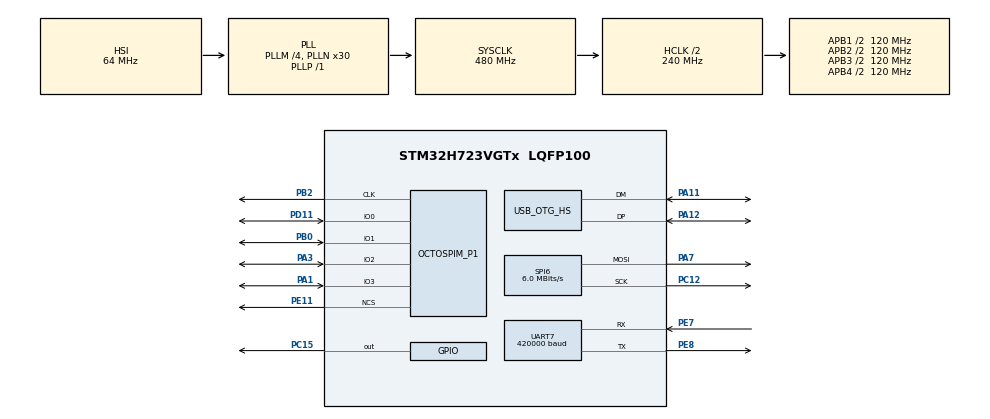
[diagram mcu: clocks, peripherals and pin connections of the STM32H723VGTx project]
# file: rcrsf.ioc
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CORTEX_M7.AccessPermission_S-Cortex_Memory_Protection_Unit_Region1_Settings_S=MPU_REGION_PRIV_RO
CORTEX_M7.AccessPermission_S-Cortex_Memory_Protection_Unit_Region2_Settings_S=MPU_REGION_FULL_ACCESS
CORTEX_M7.BaseAddress_S-Cortex_Memory_Protection_Unit_Region1_Settings_S=0x08000000
CORTEX_M7.BaseAddress_S-Cortex_Memory_Protection_Unit_Region2_Settings_S=0x30000000
CORTEX_M7.Enable_S-Cortex_Memory_Protection_Unit_Region1_Settings_S=MPU_REGION_ENABLE
CORTEX_M7.Enable_S-Cortex_Memory_Protection_Unit_Region2_Settings_S=MPU_REGION_ENABLE
CORTEX_M7.IsCacheable_S-Cortex_Memory_Protection_Unit_Region1_Settings_S=MPU_ACCESS_CACHEABLE
CORTEX_M7.Number_S-Cortex_Memory_Protection_Unit_Region2_Settings_S=MPU_REGION_NUMBER2
CORTEX_M7.Size_S-Cortex_Memory_Protection_Unit_Region1_Settings_S=MPU_REGION_SIZE_1MB
CORTEX_M7.Size_S-Cortex_Memory_Protection_Unit_Region2_Settings_S=MPU_REGION_SIZE_32KB
CORTEX_M7.TypeExtField_S-Cortex_Memory_Protection_Unit_Region1_Settings_S=MPU_TEX_LEVEL1
CORTEX_M7.TypeExtField_S-Cortex_Memory_Protection_Unit_Region2_Settings_S=MPU_TEX_LEVEL1
CORTEX_M7.default_mode_Activation=1
Dma.Request0=UART7_RX
Dma.Request1=UART7_TX
Dma.UART7_RX.0.Direction=DMA_PERIPH_TO_MEMORY
Dma.UART7_RX.0.EventEnable=DISABLE
Dma.UART7_RX.0.FIFOMode=DMA_FIFOMODE_DISABLE
Dma.UART7_RX.0.Instance=DMA1_Stream0
Dma.UART7_RX.0.MemDataAlignment=DMA_MDATAALIGN_BYTE
Dma.UART7_RX.0.MemInc=DMA_MINC_ENABLE
Dma.UART7_RX.0.Mode=DMA_NORMAL
Dma.UART7_RX.0.PeriphDataAlignment=DMA_PDATAALIGN_BYTE
Dma.UART7_RX.0.PeriphInc=DMA_PINC_DISABLE
Dma.UART7_RX.0.Polarity=HAL_DMAMUX_REQ_GEN_RISING
Dma.UART7_RX.0.Priority=DMA_PRIORITY_LOW
Dma.UART7_RX.0.RequestNumber=1
Dma.UART7_RX.0.SignalID=NONE
Dma.UART7_RX.0.SyncEnable=DISABLE
Dma.UART7_RX.0.SyncPolarity=HAL_DMAMUX_SYNC_NO_EVENT
Dma.UART7_RX.0.SyncRequestNumber=1
Dma.UART7_RX.0.SyncSignalID=NONE
Dma.UART7_TX.1.Direction=DMA_MEMORY_TO_PERIPH
Dma.UART7_TX.1.EventEnable=DISABLE
Dma.UART7_TX.1.FIFOMode=DMA_FIFOMODE_DISABLE
Dma.UART7_TX.1.Instance=DMA1_Stream1
Dma.UART7_TX.1.MemDataAlignment=DMA_MDATAALIGN_BYTE
Dma.UART7_TX.1.MemInc=DMA_MINC_ENABLE
Dma.UART7_TX.1.Mode=DMA_NORMAL
Dma.UART7_TX.1.PeriphDataAlignment=DMA_PDATAALIGN_BYTE
Dma.UART7_TX.1.PeriphInc=DMA_PINC_DISABLE
Dma.UART7_TX.1.Polarity=HAL_DMAMUX_REQ_GEN_RISING
Dma.UART7_TX.1.Priority=DMA_PRIORITY_LOW
Dma.UART7_TX.1.RequestNumber=1
Dma.UART7_TX.1.SignalID=NONE
Dma.UART7_TX.1.SyncEnable=DISABLE
Dma.UART7_TX.1.SyncPolarity=HAL_DMAMUX_SYNC_NO_EVENT
Dma.UART7_TX.1.SyncRequestNumber=1
Dma.UART7_TX.1.SyncSignalID=NONE
FATFS._CODE_PAGE=936
FATFS._FS_EXFAT=1
FATFS._MAX_SS=4096
FATFS._USE_LFN=2
Mcu.Family=STM32H7
Mcu.Name=STM32H723VGTx
Mcu.Package=LQFP100
NVIC.DMA1_Stream0_IRQn=true\:0\:0\:false\:false\:true\:false\:true\:true
NVIC.DMA1_Stream1_IRQn=true\:0\:0\:false\:false\:true\:false\:true\:true
NVIC.OTG_HS_IRQn=true\:0\:0\:false\:false\:true\:false\:true\:true
NVIC.PriorityGroup=NVIC_PRIORITYGROUP_4
NVIC.UART7_IRQn=true\:0\:0\:false\:false\:true\:true\:true\:true
OCTOSPI2.ClockMode=HAL_OSPI_CLOCK_MODE_3
OCTOSPI2.ClockPrescaler=3
OCTOSPI2.DeviceSize=23
OCTOSPI2.FifoThreshold=8
OCTOSPI2.SampleShifting=HAL_OSPI_SAMPLE_SHIFTING_HALFCYCLE
PA1.Mode=OCTOSPI2_IOL_Port1L
PA1.Signal=OCTOSPIM_P1_IO3
PA11.Mode=Device_Only_FS
PA11.Signal=USB_OTG_HS_DM
PA12.Mode=Device_Only_FS
PA12.Signal=USB_OTG_HS_DP
PA13(JTMS/SWDIO).Mode=Serial_Wire
PA13(JTMS/SWDIO).Signal=DEBUG_JTMS-SWDIO
PA14(JTCK/SWCLK).Mode=Serial_Wire
PA14(JTCK/SWCLK).Signal=DEBUG_JTCK-SWCLK
PA3.Mode=OCTOSPI2_IOL_Port1L
PA3.Signal=OCTOSPIM_P1_IO2
PA7.Mode=TX_Only_Simplex_Unidirect_Master
PA7.Signal=SPI6_MOSI
PB0.Mode=OCTOSPI2_IOL_Port1L
PB0.Signal=OCTOSPIM_P1_IO1
PB2.Mode=O2_P1_CLK
PB2.Signal=OCTOSPIM_P1_CLK
PC12.Mode=TX_Only_Simplex_Unidirect_Master
PC12.Signal=SPI6_SCK
PC15-OSC32_OUT.GPIO_PuPd=GPIO_PULLUP
PC15-OSC32_OUT.PinState=GPIO_PIN_SET
PC15-OSC32_OUT.Signal=GPIO_Output
PD11.Mode=OCTOSPI2_IOL_Port1L
PD11.Signal=OCTOSPIM_P1_IO0
PE11.Mode=OCTOSPI2_Port1_NCS
PE11.Signal=OCTOSPIM_P1_NCS
PE7.Mode=Asynchronous
PE7.Signal=UART7_RX
PE8.Mode=Asynchronous
PE8.Signal=UART7_TX
PH0-OSC_IN.Mode=HSE-External-Oscillator
PH0-OSC_IN.Signal=RCC_OSC_IN
PH1-OSC_OUT.Mode=HSE-External-Oscillator
PH1-OSC_OUT.Signal=RCC_OSC_OUT
ProjectManager.HeapSize=0x200
ProjectManager.StackSize=0x400
ProjectManager.TargetToolchain=Makefile
RCC.ADCFreq_Value=129000000
RCC.APB1Freq_Value=120000000
RCC.APB2Freq_Value=120000000
RCC.APB3Freq_Value=120000000
RCC.APB4Freq_Value=120000000
RCC.CortexFreq_Value=480000000
RCC.D1PPRE=RCC_APB3_DIV2
RCC.D2PPRE1=RCC_APB1_DIV2
RCC.D2PPRE2=RCC_APB2_DIV2
RCC.D3PPRE=RCC_APB4_DIV2
RCC.DIVM1=4
RCC.DIVN1=30
RCC.DIVP1=1
RCC.HCLKFreq_Value=240000000
RCC.HPRE=RCC_HCLK_DIV2
RCC.HSE_VALUE=24000000
RCC.PLL2FRACN=0
RCC.PLL3FRACN=0
RCC.PLLFRACN=0
RCC.SPI6CLockSelection=RCC_SPI6CLKSOURCE_HSE
RCC.SYSCLKFreq_VALUE=480000000
RCC.SYSCLKSource=RCC_SYSCLKSOURCE_PLLCLK
RCC.USBCLockSelection=RCC_USBCLKSOURCE_HSI48
RCC.USBFreq_Value=48000000
SPI6.BaudRatePrescaler=SPI_BAUDRATEPRESCALER_4
SPI6.CLKPhase=SPI_PHASE_2EDGE
SPI6.CalculateBaudRate=6.0 MBits/s
SPI6.DataSize=SPI_DATASIZE_8BIT
SPI6.Direction=SPI_DIRECTION_2LINES_TXONLY
SPI6.Mode=SPI_MODE_MASTER
SPI6.VirtualType=VM_MASTER
UART7.BaudRate=420000
USB_DEVICE.CLASS_NAME_HS=MSC
USB_DEVICE.MSC_MEDIA_PACKET=4096
USB_DEVICE.VirtualMode=Msc
USB_DEVICE.VirtualModeHS=Msc_HS
USB_OTG_HS.VirtualMode-Device_Only_FS=Device_Only_FS
VP_FATFS_VS_Generic.Mode=User_defined
VP_MEMORYMAP_VS_MEMORYMAP.Mode=CurAppReg
VP_OCTOSPI2_VS_quad.Mode=quad_mode
VP_USB_DEVICE_VS_USB_DEVICE_MSC_HS.Mode=MSC_HS
board=custom

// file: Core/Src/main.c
/* USER CODE BEGIN Header */
/**
  ******************************************************************************
  * @file           : main.c
  * @brief          : Main program body
  ******************************************************************************
  * @attention
  *
  * Copyright (c) 2026 STMicroelectronics.
  * All rights reserved.
  *
  * This software is licensed under terms that can be found in the LICENSE file
  * in the root directory of this software component.
  * If no LICENSE file comes with this software, it is provided AS-IS.
  *
  ******************************************************************************
  */
/* USER CODE END Header */
#include "main.h"
#include "dma.h"
#include "fatfs.h"
#include "octospi.h"
#include "spi.h"
#include "usart.h"
#include "usb_device.h"
#include "gpio.h"

/* USER CODE BEGIN Includes */
#include "usbd_core.h"
/* USER CODE END Includes */

void SystemClock_Config(void);
static void MPU_Config(void);
/* USER CODE BEGIN PFP */
static uint8_t APP_IsUsbConnectedAtStartup(void);

/* USER CODE END PFP */

/* USER CODE BEGIN 0 */
uint8_t ws2812_buffer = 0;
extern USBD_HandleTypeDef hUsbDeviceHS;
/* USER CODE END 0 */

int main(void)
{

  /* MPU Configuration--------------------------------------------------------*/
  MPU_Config();

  /* MCU Configuration--------------------------------------------------------*/

  /* Reset of all peripherals, Initializes the Flash interface and the Systick. */
  HAL_Init();

  /* Configure the system clock */
  SystemClock_Config();

  /* Initialize all configured peripherals */
  MX_GPIO_Init();
  MX_DMA_Init();
  MX_UART7_Init();
  MX_OCTOSPI2_Init();
  MX_FATFS_Init();
  MX_USB_DEVICE_Init();
  MX_SPI6_Init();
  /* USER CODE BEGIN 2 */
  if (APP_IsUsbConnectedAtStartup() == 0U)
  {
    (void)USBD_Stop(&hUsbDeviceHS);
    (void)USBD_DeInit(&hUsbDeviceHS);
  }
  else
  {
    while (1)
    {
      WS2812_Ctrl(ws2812_buffer * 20, ws2812_buffer * 20, 0);
      ws2812_buffer = !ws2812_buffer;
      HAL_Delay(500);
    }
  }

  crsf_init();
  /* USER CODE END 2 */

  /* Infinite loop */
  while (1)
  {

    /* USER CODE BEGIN 3 */
    WS2812_Ctrl(0, ws2812_buffer * 40, 0);
    ws2812_buffer = !ws2812_buffer;
    HAL_Delay(1000);
  }
  /* USER CODE END 3 */
}

void SystemClock_Config(void)
{
  RCC_OscInitTypeDef RCC_OscInitStruct = {0};
  RCC_ClkInitTypeDef RCC_ClkInitStruct = {0};

  /** Supply configuration update enable
  */
  HAL_PWREx_ConfigSupply(PWR_LDO_SUPPLY);

  /** Configure the main internal regulator output voltage
  */
  __HAL_PWR_VOLTAGESCALING_CONFIG(PWR_REGULATOR_VOLTAGE_SCALE0);

  while(!__HAL_PWR_GET_FLAG(PWR_FLAG_VOSRDY)) {}

  /** Initializes the RCC Oscillators according to the specified parameters
  * in the RCC_OscInitTypeDef structure.
  */
  RCC_OscInitStruct.OscillatorType = RCC_OSCILLATORTYPE_HSI48|RCC_OSCILLATORTYPE_HSI
                              |RCC_OSCILLATORTYPE_HSE;
  RCC_OscInitStruct.HSEState = RCC_HSE_ON;
  RCC_OscInitStruct.HSIState = RCC_HSI_DIV1;
  RCC_OscInitStruct.HSICalibrationValue = 64;
  RCC_OscInitStruct.HSI48State = RCC_HSI48_ON;
  RCC_OscInitStruct.PLL.PLLState = RCC_PLL_ON;
  RCC_OscInitStruct.PLL.PLLSource = RCC_PLLSOURCE_HSI;
  RCC_OscInitStruct.PLL.PLLM = 4;
  RCC_OscInitStruct.PLL.PLLN = 30;
  RCC_OscInitStruct.PLL.PLLP = 1;
  RCC_OscInitStruct.PLL.PLLQ = 2;
  RCC_OscInitStruct.PLL.PLLR = 2;
  RCC_OscInitStruct.PLL.PLLRGE = RCC_PLL1VCIRANGE_3;
  RCC_OscInitStruct.PLL.PLLVCOSEL = RCC_PLL1VCOWIDE;
  RCC_OscInitStruct.PLL.PLLFRACN = 0;
  if (HAL_RCC_OscConfig(&RCC_OscInitStruct) != HAL_OK)
  {
    Error_Handler();
  }

  /** Initializes the CPU, AHB and APB buses clocks
  */
  RCC_ClkInitStruct.ClockType = RCC_CLOCKTYPE_HCLK|RCC_CLOCKTYPE_SYSCLK
                              |RCC_CLOCKTYPE_PCLK1|RCC_CLOCKTYPE_PCLK2
                              |RCC_CLOCKTYPE_D3PCLK1|RCC_CLOCKTYPE_D1PCLK1;
  RCC_ClkInitStruct.SYSCLKSource = RCC_SYSCLKSOURCE_PLLCLK;
  RCC_ClkInitStruct.SYSCLKDivider = RCC_SYSCLK_DIV1;
  RCC_ClkInitStruct.AHBCLKDivider = RCC_HCLK_DIV2;
  RCC_ClkInitStruct.APB3CLKDivider = RCC_APB3_DIV2;
  RCC_ClkInitStruct.APB1CLKDivider = RCC_APB1_DIV2;
  RCC_ClkInitStruct.APB2CLKDivider = RCC_APB2_DIV2;
  RCC_ClkInitStruct.APB4CLKDivider = RCC_APB4_DIV2;

  if (HAL_RCC_ClockConfig(&RCC_ClkInitStruct, FLASH_LATENCY_3) != HAL_OK)
  {
    Error_Handler();
  }
}

/* USER CODE BEGIN 4 */
static uint8_t APP_IsUsbConnectedAtStartup(void)
{
  uint32_t start_tick;

  start_tick = HAL_GetTick();
  while ((HAL_GetTick() - start_tick) < 1500U)
  {
    if (hUsbDeviceHS.dev_state == USBD_STATE_CONFIGURED)
    {
      return 1U;
    }
    HAL_Delay(10);
  }

  return 0U;
}

/* USER CODE END 4 */

 /* MPU Configuration */

void MPU_Config(void)
{
  MPU_Region_InitTypeDef MPU_InitStruct = {0};

  /* Disables the MPU */
  HAL_MPU_Disable();

  /** Initializes and configures the Region and the memory to be protected
  */
  MPU_InitStruct.Enable = MPU_REGION_ENABLE;
  MPU_InitStruct.Number = MPU_REGION_NUMBER0;
  MPU_InitStruct.BaseAddress = 0x0;
  MPU_InitStruct.Size = MPU_REGION_SIZE_4GB;
  MPU_InitStruct.SubRegionDisable = 0x87;
  MPU_InitStruct.TypeExtField = MPU_TEX_LEVEL0;
  MPU_InitStruct.AccessPermission = MPU_REGION_NO_ACCESS;
  MPU_InitStruct.DisableExec = MPU_INSTRUCTION_ACCESS_DISABLE;
  MPU_InitStruct.IsShareable = MPU_ACCESS_SHAREABLE;
  MPU_InitStruct.IsCacheable = MPU_ACCESS_NOT_CACHEABLE;
  MPU_InitStruct.IsBufferable = MPU_ACCESS_NOT_BUFFERABLE;

  HAL_MPU_ConfigRegion(&MPU_InitStruct);

  /** Initializes and configures the Region and the memory to be protected
  */
  MPU_InitStruct.Number = MPU_REGION_NUMBER1;
  MPU_InitStruct.BaseAddress = 0x08000000;
  MPU_InitStruct.Size = MPU_REGION_SIZE_1MB;
  MPU_InitStruct.SubRegionDisable = 0x0;
  MPU_InitStruct.TypeExtField = MPU_TEX_LEVEL1;
  MPU_InitStruct.AccessPermission = MPU_REGION_PRIV_RO;
  MPU_InitStruct.DisableExec = MPU_INSTRUCTION_ACCESS_ENABLE;
  MPU_InitStruct.IsShareable = MPU_ACCESS_NOT_SHAREABLE;
  MPU_InitStruct.IsCacheable = MPU_ACCESS_CACHEABLE;

  HAL_MPU_ConfigRegion(&MPU_InitStruct);

  /** Initializes and configures the Region and the memory to be protected
  */
  MPU_InitStruct.Number = MPU_REGION_NUMBER2;
  MPU_InitStruct.BaseAddress = 0x30000000;
  MPU_InitStruct.Size = MPU_REGION_SIZE_32KB;
  MPU_InitStruct.AccessPermission = MPU_REGION_FULL_ACCESS;
  MPU_InitStruct.IsCacheable = MPU_ACCESS_NOT_CACHEABLE;

  HAL_MPU_ConfigRegion(&MPU_InitStruct);
  /* Enables the MPU */
  HAL_MPU_Enable(MPU_PRIVILEGED_DEFAULT);

}

void Error_Handler(void)
{
  __disable_irq();
  while (1)
  {
  }
}
